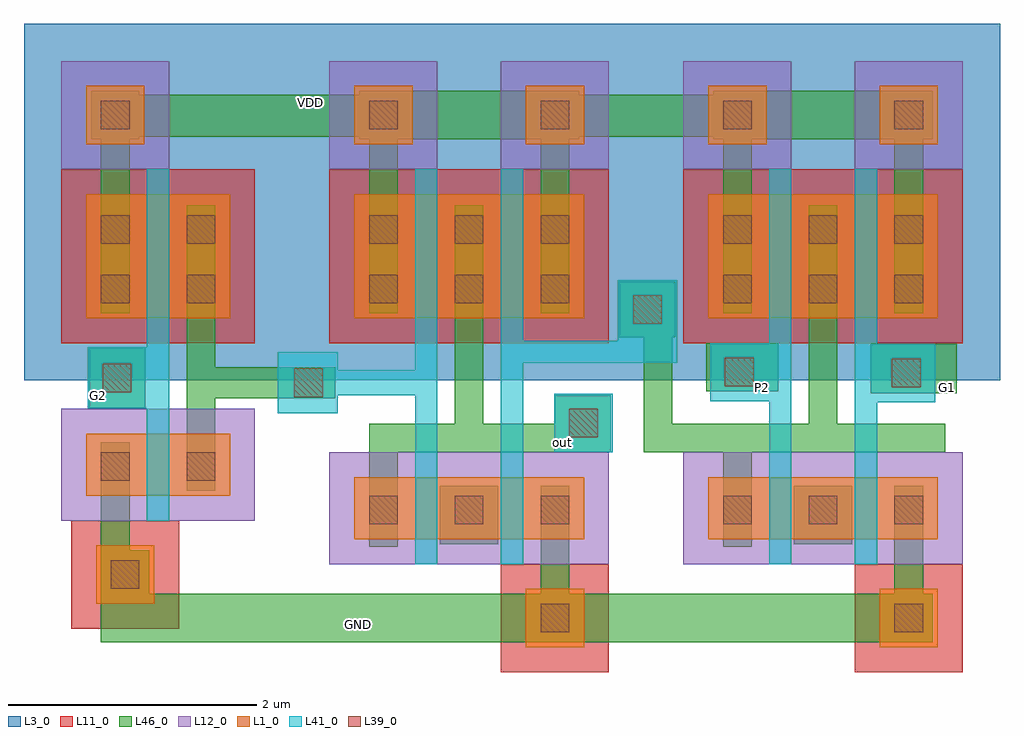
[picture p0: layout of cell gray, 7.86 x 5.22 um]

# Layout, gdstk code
import gdstk
lib = gdstk.Library(unit=1e-6, precision=1e-09)
def R(c, l, rs):  # rectangles x0, y0, x1, y1
    for r in rs: c.add(gdstk.rectangle(r[:2], r[2:], *l))
L1_0 = (1, 0)
L3_0 = (3, 0)
L11_0 = (11, 0)
L12_0 = (12, 0)
L39_0 = (39, 0)
L41_0 = (41, 0)
L46_0 = (46, 0)

p_18 = lib.new_cell('P_18')
R(p_18, L1_0, [(0.5,0.5,1.66,1.5)])
R(p_18, L3_0, [(0,0,2.16,2)])
R(p_18, L11_0, [(0.3,0.3,1.86,1.7)])
R(p_18, L39_0, [(0.62,0.62,0.85,0.85), (1.31,0.62,1.54,0.85), (0.62,1.1,0.85,1.33), (1.31,1.1,1.54,1.33)])
R(p_18, L41_0, [(0.99,0.3,1.17,1.7)])
R(p_18, L46_0, [(0.62,0.54,0.85,1.41), (1.31,0.54,1.54,1.41)])

n_18 = lib.new_cell('N_18')
R(n_18, L1_0, [(0.2,0.2,1.36,0.7)])
R(n_18, L12_0, [(0,0,1.56,0.9)])
R(n_18, L39_0, [(0.32,0.32,0.55,0.55), (1.01,0.32,1.24,0.55)])
R(n_18, L41_0, [(0.69,0,0.87,0.9)])
R(n_18, L46_0, [(0.32,0.24,0.55,0.63), (1.01,0.24,1.24,0.63)])

m1_nw = lib.new_cell('M1_NW')
R(m1_nw, L1_0, [(0.5,0.5,0.97,0.97)])
R(m1_nw, L3_0, [(0,0,1.47,1.47)])
R(m1_nw, L12_0, [(0.3,0.3,1.17,1.17)])
R(m1_nw, L39_0, [(0.62,0.62,0.85,0.85)])
R(m1_nw, L46_0, [(0.54,0.54,0.93,0.93)])

m1_pdiff = lib.new_cell('M1_PDIFF')
R(m1_pdiff, L1_0, [(0.2,0.2,0.67,0.67)])
R(m1_pdiff, L11_0, [(0,0,0.87,0.87)])
R(m1_pdiff, L39_0, [(0.32,0.32,0.55,0.55)])
R(m1_pdiff, L46_0, [(0.24,0.24,0.63,0.63)])

inv = lib.new_cell('inv')
R(inv, L41_0, [(1.81,2.25,1.99,2.95)])
R(inv, L46_0, [(1.44,0.91,1.67,1.68), (2.13,1.98,2.36,3.14), (1.44,3.89,1.67,4.83)])
inv.add(gdstk.Reference(p_18, (0.82,2.54)))
inv.add(gdstk.Reference(n_18, (1.12,1.41)))
inv.add(gdstk.Reference(m1_nw, (0.82,3.94)))
inv.add(gdstk.Reference(m1_pdiff, (1.2,0.54)))
inv.add(gdstk.Label('vo', (2.25,2.69), layer=101, texttype=0))
inv.add(gdstk.Label('gnd!', (1.63,0.92), layer=101, texttype=0))
inv.add(gdstk.Label('vdd!', (1.55,4.68), layer=101, texttype=0))
inv.add(gdstk.Label('vi', (1.89,2.71), layer=100, texttype=0))

nand2 = lib.new_cell('nand2')
R(nand2, L41_0, [(0.99,1.67,1.17,2.72), (1.68,1.67,1.86,2.72)])
R(nand2, L46_0, [(2,0.41,2.23,1.44), (0.62,1.01,0.85,2), (1.19,1.03,1.66,1.5), (0.63,1.77,2.41,2), (1.31,1.91,1.54,2.93), (0.62,3.54,0.85,4.57), (2,3.54,2.23,4.57), (0.86,4.29,1.96,4.68)])
nand2.add(gdstk.Reference(n_18, (0.3,0.87)))
nand2.add(gdstk.Reference(n_18, (0.99,0.87)))
nand2.add(gdstk.Reference(p_18, (0,2.35)))
nand2.add(gdstk.Reference(p_18, (0.69,2.35)))
nand2.add(gdstk.Reference(m1_nw, (0,3.75)))
nand2.add(gdstk.Reference(m1_nw, (1.38,3.75)))
nand2.add(gdstk.Reference(m1_pdiff, (1.68,0)))
nand2.add(gdstk.Label('vdd!', (1.78,4.48), layer=101, texttype=0))
nand2.add(gdstk.Label('gnd!', (2.17,0.46), layer=101, texttype=0))
nand2.add(gdstk.Label('vo', (2.26,1.87), layer=101, texttype=0))
nand2.add(gdstk.Label('vi1', (1.08,2.47), layer=100, texttype=0))
nand2.add(gdstk.Label('vi2', (1.8,2.19), layer=100, texttype=0))

gray = lib.new_cell('gray')
R(gray, L3_0, [(-11.91,-2.88,-4.05,-0.01)])
R(gray, L39_0, [(-7.52,-3.34,-7.29,-3.11), (-9.735,-3.015,-9.505,-2.785), (-11.275,-2.975,-11.045,-2.745), (-4.92,-2.935,-4.69,-2.705), (-6.265,-2.93,-6.035,-2.7), (-7.005,-2.425,-6.775,-2.195)])
R(gray, L41_0, [(-7.64,-3.46,-7.17,-2.99), (-9.865,-3.145,-9.385,-2.655), (-11.395,-3.105,-10.915,-2.615), (-5.04,-3.055,-4.57,-2.585), (-6.385,-3.05,-5.905,-2.58), (-9.4,-3,-8.7,-2.8), (-7.93,-2.74,-6.65,-2.56), (-7.13,-2.705,-6.65,-2.075)])
R(gray, L46_0, [(-11.29,-4.99,-4.59,-4.6), (-7.635,-3.46,-7.185,-3), (-6.92,-3.46,-6.69,-2.43), (-6.92,-3.46,-6.02,-3.23), (-11.385,-3.105,-10.935,-2.615), (-10.435,-3.025,-9.405,-2.775), (-5.09,-2.985,-4.4,-2.585), (-6.415,-2.97,-5.835,-2.58), (-7.115,-2.535,-6.665,-2.085), (-10.99,-0.92,-4.95,-0.58)])
gray.add(gdstk.Reference(inv, (-12.73,-5.42)))
gray.add(gdstk.Reference(nand2, (-9.75,-5.23)))
gray.add(gdstk.Reference(nand2, (-6.9,-5.23)))
gray.add(gdstk.Reference(nand2, (-6.9,-5.23)))
gray.add(gdstk.Reference(nand2, (-6.9,-5.23)))
gray.add(gdstk.Label('VDD', (-9.6,-0.64), layer=101, texttype=0))
gray.add(gdstk.Label('out', (-7.57,-3.38), layer=101, texttype=0))
gray.add(gdstk.Label('GND', (-9.22,-4.85), layer=101, texttype=0))
gray.add(gdstk.Label('G2', (-11.31,-3), layer=101, texttype=0))
gray.add(gdstk.Label('G1', (-4.47,-2.94), layer=101, texttype=0))
gray.add(gdstk.Label('P2', (-5.96,-2.94), layer=101, texttype=0))

lib.write_gds('gray.gds')
